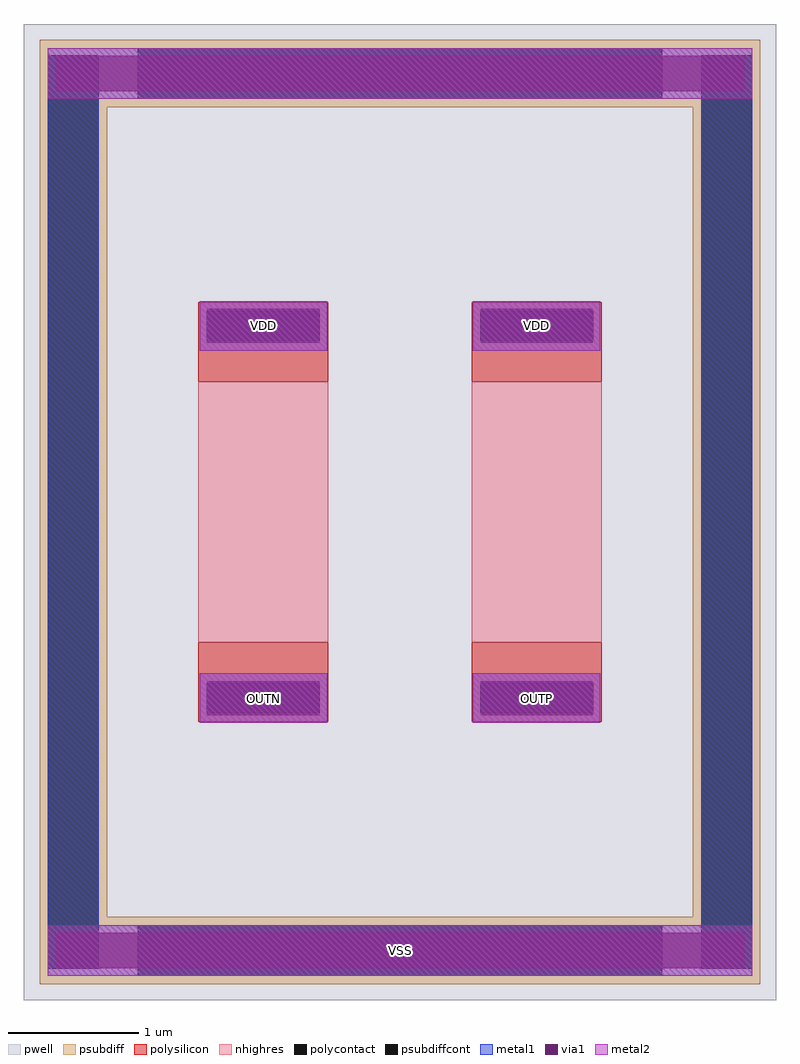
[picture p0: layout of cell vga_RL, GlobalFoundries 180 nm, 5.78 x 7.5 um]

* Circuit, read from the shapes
.subckt vga_RL OUTN VDD OUTP VSS
XR1 VDD OUTN VSS ppolyf_u_1k r_width=1u r_length=2u
XR2 VDD OUTP VSS ppolyf_u_1k r_width=1u r_length=2u
.ends

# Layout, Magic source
magic
tech gf180mcuD
magscale 1 10
<< pwell >>
rect -368 -464 788 1036
<< psubdiff >>
rect -344 -440 764 -336
rect -344 908 764 1012
rect -344 -336 -240 908
rect 660 -336 764 908
<< polysilicon >>
rect -100 486 100 608
rect -100 -36 100 86
rect 320 486 520 608
rect 320 -36 520 86
<< nhighres >>
rect -100 86 100 486
rect 320 86 520 486
<< psubdiffcont >>
rect -331 -416 -253 988
rect 673 -416 751 988
rect -193 921 613 999
rect -193 -427 613 -349
<< polycontact >>
rect -87 549 87 595
rect -87 -23 87 23
rect 333 549 507 595
rect 333 -23 507 23
<< metal1 >>
rect -98 549 98 595
rect -98 -23 98 23
rect 322 549 518 595
rect 322 -23 518 23
rect -98 -38 98 38
rect -98 534 98 610
rect 322 -38 518 38
rect 322 534 518 610
rect -331 -427 751 -349
rect -331 921 751 999
rect -331 -427 -253 999
rect 673 -427 751 999
rect -331 -427 751 -349
rect -331 921 751 999
<< metal2 >>
rect -98 -38 98 38
rect -98 534 98 610
rect 322 -38 518 38
rect 322 534 518 610
rect -331 -427 751 -349
rect -331 921 751 999
<< via1 >>
rect -86 -26 86 26
rect -86 546 86 598
rect 334 -26 506 26
rect 334 546 506 598
rect -319 -415 739 -361
rect -319 933 739 987
<< labels >>
flabel metal2 s -98 -38 98 38 0 FreeSans 80 0 0 0 OUTN
port 1 nsew signal bidirectional
flabel metal2 s -98 534 98 610 0 FreeSans 80 0 0 0 VDD
port 2 nsew signal bidirectional
flabel metal2 s 322 -38 518 38 0 FreeSans 80 0 0 0 OUTP
port 3 nsew signal bidirectional
flabel metal2 s 322 534 518 610 0 FreeSans 80 0 0 0 VDD
port 2 nsew signal bidirectional
flabel metal2 s -331 -427 751 -349 0 FreeSans 80 0 0 0 VSS
port 4 nsew signal bidirectional
<< end >>
